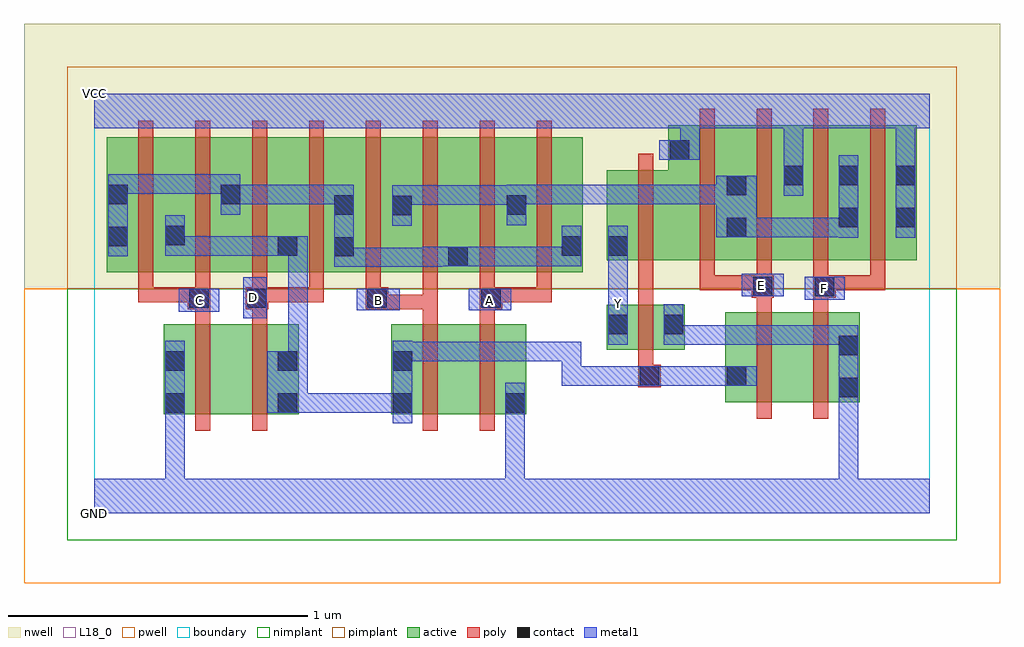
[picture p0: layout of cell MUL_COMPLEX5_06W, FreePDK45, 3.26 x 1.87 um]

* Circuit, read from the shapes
.subckt MUL_COMPLEX5_06W A B C D E F GND VCC Y
M1 n1 C GND VSUBS nfet w=0.3u l=0.05u
M2 n2 D n1 VSUBS nfet w=0.3u l=0.05u
M3 n3 B n2 VSUBS nfet w=0.3u l=0.05u
M4 GND A n3 VSUBS nfet w=0.3u l=0.05u
M5 GND n2 Y VSUBS nfet w=0.15u l=0.05u
M6 n4 E n2 VSUBS nfet w=0.3u l=0.05u
M7 GND F n4 VSUBS nfet w=0.3u l=0.05u
M8 n2 C n5 n6 pfet w=0.45u l=0.05u m=2
M9 n2 D n5 n6 pfet w=0.45u l=0.05u m=2
M10 n7 B n5 n6 pfet w=0.45u l=0.05u m=2
M11 n7 A n5 n6 pfet w=0.45u l=0.05u m=2
M12 VCC n2 Y n6 pfet w=0.3u l=0.05u
M13 n7 E VCC n6 pfet w=0.45u l=0.05u m=2
M14 n7 F VCC n6 pfet w=0.45u l=0.05u m=2
.ends

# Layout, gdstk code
import gdstk
lib = gdstk.Library(unit=1e-6, precision=1e-09)
def R(c, l, rs):  # rectangles x0, y0, x1, y1
    for r in rs: c.add(gdstk.rectangle(r[:2], r[2:], *l))
def A(c, l, x, y, w, h, nx, ny, dx, dy):  # array of equal rectangles
    R(c, l, [(x+i*dx, y+j*dy, x+i*dx+w, y+j*dy+h) for i in range(nx) for j in range(ny)])
active = (1, 0)
pwell = (2, 0)
nwell = (3, 0)
nimplant = (4, 0)
pimplant = (5, 0)
poly = (9, 0)
contact = (10, 0)
metal1 = (11, 0)
L18_0 = (18, 0)
boundary = (235, 0)

mul_complex5_06w = lib.new_cell('MUL_COMPLEX5_06W')
R(mul_complex5_06w, active, [(0.232,0.33,0.457,0.63), (0.232,0.33,0.307,0.63), (0.457,0.33,0.682,0.63), (0.607,0.33,0.682,0.63), (0.992,0.33,1.217,0.63), (0.992,0.33,1.067,0.63), (1.217,0.33,1.442,0.63), (1.367,0.33,1.442,0.547), (2.107,0.37,2.332,0.67), (2.332,0.37,2.557,0.67), (2.107,0.382,2.182,0.67), (2.482,0.382,2.557,0.67), (1.712,0.545,1.787,0.695), (1.712,0.545,1.972,0.695), (1.897,0.545,1.972,0.695), (0.042,0.805,0.307,1.255), (0.042,0.805,0.117,1.2), (0.232,0.805,0.492,1.255), (0.232,0.805,0.307,1.07), (0.417,0.805,0.682,1.255), (0.417,0.805,0.492,1.2), (0.607,0.805,0.872,1.255), (0.607,0.805,0.682,1.07), (0.797,0.805,0.872,1.2), (0.797,0.805,1.065,1.255), (0.99,0.805,1.065,1.2), (0.99,0.805,1.252,1.255), (1.177,0.805,1.252,1.07), (1.177,0.805,1.447,1.255), (1.372,0.805,1.632,1.255), (1.372,0.805,1.447,1.2), (1.557,0.805,1.632,1.07), (1.712,0.845,1.992,1.145), (1.917,0.845,2.182,1.295), (2.107,0.845,2.372,1.295), (2.107,0.845,2.182,1.2), (2.297,0.845,2.372,1.295), (2.297,0.845,2.557,1.295), (2.482,0.845,2.747,1.295), (2.482,0.845,2.557,1.2), (2.672,0.845,2.747,1.295), (1.712,0.855,1.787,1.07), (1.917,0.96,1.992,1.25)])
R(mul_complex5_06w, pwell, [(-0.235,-0.235,3.025,0.75)])
R(mul_complex5_06w, nwell, [(-0.235,0.75,3.025,1.635)])
R(mul_complex5_06w, nimplant, [(-0.09,-0.09,2.88,0.75)])
R(mul_complex5_06w, pimplant, [(-0.09,0.75,2.88,1.49)])
A(mul_complex5_06w, poly, 0.147, 0.705, 0.05, 0.095, 5, 1, 0.19, 0)
A(mul_complex5_06w, poly, 2.022, 0.745, 0.05, 0.095, 4, 1, 0.19, 0)
A(mul_complex5_06w, poly, 0.147, 0.75, 0.05, 0.56, 8, 1, 0.19, 0)
A(mul_complex5_06w, poly, 2.022, 0.79, 0.05, 0.56, 4, 1, 0.19, 0)
R(mul_complex5_06w, poly, [(0.337,0.275,0.387,0.685), (0.527,0.275,0.577,0.685), (1.097,0.275,1.147,0.685), (1.287,0.275,1.337,0.685), (2.212,0.315,2.262,0.725), (2.402,0.315,2.452,0.725), (1.817,0.42,1.892,0.495), (1.817,0.445,1.867,0.54), (1.817,0.49,1.867,0.75), (0.337,0.635,0.387,0.73), (0.527,0.635,0.577,0.73), (1.097,0.635,1.147,0.73), (1.287,0.635,1.337,0.73), (2.212,0.675,2.262,0.77), (2.402,0.675,2.452,0.77), (0.312,0.68,0.387,0.755), (0.505,0.68,0.58,0.755), (0.907,0.68,0.982,0.755), (0.932,0.68,1.147,0.73), (1.097,0.68,1.147,0.73), (1.097,0.68,1.147,0.73), (1.097,0.68,1.147,0.73), (1.097,0.68,1.147,0.8), (1.287,0.68,1.362,0.755), (1.817,0.7,1.867,0.795), (0.147,0.705,0.362,0.755), (0.147,0.705,0.197,0.755), (0.312,0.705,0.362,0.755), (0.312,0.705,0.362,0.755), (0.53,0.705,0.58,0.755), (0.53,0.705,0.58,0.755), (0.53,0.705,0.767,0.755), (0.717,0.705,0.767,0.755), (1.287,0.705,1.337,0.8), (1.312,0.705,1.527,0.755), (1.477,0.705,1.527,0.8), (1.477,0.705,1.527,0.755), (1.477,0.705,1.527,0.755), (1.477,0.705,1.527,0.755), (2.195,0.72,2.27,0.795), (2.402,0.72,2.477,0.795), (1.817,0.745,1.867,0.84), (1.817,0.745,1.867,0.795), (2.022,0.745,2.072,0.795), (2.022,0.745,2.245,0.795), (2.195,0.745,2.245,0.795), (2.195,0.745,2.245,0.795), (2.427,0.745,2.642,0.795), (2.427,0.745,2.477,0.795), (2.427,0.745,2.477,0.795), (2.592,0.745,2.642,0.795), (1.817,0.79,1.867,1.2)])
R(mul_complex5_06w, contact, [(0.237,0.335,0.302,0.4), (0.612,0.335,0.677,0.4), (0.997,0.335,1.062,0.4), (1.372,0.335,1.437,0.4), (2.487,0.387,2.552,0.452), (1.822,0.425,1.887,0.49), (2.112,0.425,2.177,0.49), (0.237,0.475,0.302,0.54), (0.612,0.475,0.677,0.54), (0.997,0.475,1.062,0.54), (2.487,0.527,2.552,0.592), (1.717,0.597,1.782,0.662), (1.902,0.597,1.967,0.662), (0.317,0.685,0.382,0.75), (0.51,0.685,0.575,0.75), (0.912,0.685,0.977,0.75), (1.292,0.685,1.357,0.75), (2.2,0.725,2.265,0.79), (2.407,0.725,2.472,0.79), (1.182,0.825,1.247,0.89), (0.802,0.857,0.867,0.922), (0.612,0.86,0.677,0.925), (1.562,0.86,1.627,0.925), (1.717,0.86,1.782,0.925), (0.047,0.892,0.112,0.957), (0.237,0.895,0.302,0.96), (2.112,0.922,2.177,0.987), (2.487,0.955,2.552,1.02), (2.677,0.955,2.742,1.02), (0.995,0.995,1.06,1.06), (0.802,0.997,0.867,1.062), (1.377,0.997,1.442,1.062), (0.047,1.032,0.112,1.097), (0.422,1.032,0.487,1.097), (2.112,1.062,2.177,1.127), (2.302,1.095,2.367,1.16), (2.487,1.095,2.552,1.16), (2.677,1.095,2.742,1.16), (1.922,1.18,1.987,1.245)])
R(mul_complex5_06w, metal1, [(0,0,2.79,0.115), (0.237,0.05,0.302,0.115), (0.237,0.05,0.302,0.115), (0.237,0.05,0.302,0.115), (0.237,0.05,0.302,0.115), (0.237,0.05,0.302,0.365), (1.372,0.05,1.437,0.365), (2.487,0.05,2.552,0.115), (2.487,0.05,2.552,0.115), (2.487,0.05,2.552,0.417), (0.237,0.3,0.302,0.575), (0.997,0.3,1.062,0.575), (1.372,0.3,1.437,0.365), (1.372,0.3,1.437,0.365), (1.372,0.3,1.437,0.365), (1.372,0.3,1.437,0.365), (1.372,0.3,1.437,0.435), (0.577,0.335,0.712,0.54), (0.647,0.335,0.712,0.4), (0.647,0.335,0.712,0.4), (0.647,0.335,0.867,0.4), (0.802,0.335,0.867,0.4), (0.802,0.335,0.867,0.4), (0.802,0.335,0.867,0.4), (0.802,0.335,1.062,0.4), (2.487,0.352,2.552,0.627), (2.487,0.352,2.552,0.417), (2.487,0.352,2.552,0.417), (1.562,0.425,1.627,0.49), (1.562,0.425,1.627,0.49), (1.562,0.425,1.627,0.49), (1.562,0.425,1.627,0.49), (1.562,0.425,1.627,0.49), (1.562,0.425,1.852,0.49), (1.562,0.425,1.627,0.572), (1.787,0.425,1.922,0.49), (1.857,0.425,1.922,0.49), (1.857,0.425,1.922,0.49), (1.857,0.425,2.06,0.49), (1.995,0.425,2.06,0.49), (1.995,0.425,2.142,0.49), (2.077,0.425,2.212,0.49), (0.647,0.475,0.712,0.925), (0.997,0.507,1.062,0.572), (0.997,0.507,1.062,0.572), (0.997,0.507,1.3,0.572), (1.235,0.507,1.3,0.572), (1.235,0.507,1.3,0.572), (1.235,0.507,1.3,0.572), (1.235,0.507,1.49,0.572), (1.425,0.507,1.627,0.572), (1.425,0.507,1.49,0.572), (1.425,0.507,1.49,0.572), (1.425,0.507,1.49,0.572), (1.562,0.507,1.627,0.572), (1.717,0.562,1.782,0.697), (1.902,0.562,1.967,0.697), (1.902,0.562,2.075,0.627), (2.01,0.562,2.075,0.627), (2.01,0.562,2.105,0.627), (2.04,0.562,2.105,0.627), (2.04,0.562,2.212,0.627), (2.147,0.562,2.212,0.627), (2.147,0.562,2.35,0.627), (2.285,0.562,2.35,0.627), (2.285,0.562,2.552,0.627), (2.487,0.562,2.552,0.627), (2.487,0.562,2.552,0.627), (2.487,0.562,2.552,0.627), (2.487,0.562,2.552,0.627), (2.487,0.562,2.552,0.627), (2.487,0.562,2.552,0.627), (1.717,0.632,1.782,0.697), (1.717,0.632,1.782,0.767), (0.497,0.65,0.575,0.787), (0.282,0.672,0.417,0.75), (0.877,0.677,1.02,0.75), (1.25,0.677,1.392,0.75), (1.717,0.702,1.782,0.89), (2.372,0.712,2.507,0.79), (2.162,0.725,2.302,0.8), (0.802,0.822,0.867,1.097), (0.802,0.822,0.867,0.887), (0.802,0.822,0.867,0.887), (0.802,0.822,0.867,0.887), (0.802,0.822,0.867,0.887), (0.802,0.822,1.075,0.887), (1.01,0.822,1.075,0.887), (1.01,0.822,1.162,0.887), (1.097,0.822,1.162,0.89), (1.097,0.825,1.212,0.89), (1.147,0.825,1.282,0.89), (1.217,0.825,1.3,0.89), (1.235,0.825,1.437,0.89), (1.235,0.825,1.3,0.89), (1.372,0.825,1.437,0.89), (1.372,0.825,1.437,0.89), (1.372,0.825,1.437,0.89), (1.372,0.825,1.627,0.89), (1.562,0.825,1.627,0.96), (1.717,0.825,1.782,0.96), (0.047,0.857,0.112,1.132), (0.237,0.86,0.302,0.925), (0.237,0.86,0.302,0.925), (0.237,0.86,0.302,0.995), (0.237,0.86,0.505,0.925), (0.44,0.86,0.642,0.925), (0.44,0.86,0.505,0.925), (0.44,0.86,0.505,0.925), (0.44,0.86,0.505,0.925), (0.577,0.86,0.712,0.925), (0.647,0.86,0.712,0.925), (0.647,0.86,0.712,0.925), (2.487,0.92,2.552,1.195), (2.677,0.92,2.742,1.195), (2.077,0.922,2.212,1.127), (2.147,0.922,2.212,0.987), (2.147,0.922,2.212,0.987), (2.147,0.922,2.415,0.987), (2.35,0.922,2.552,0.987), (2.35,0.922,2.415,0.987), (2.35,0.922,2.415,0.987), (2.35,0.922,2.415,0.987), (0.995,0.96,1.06,1.095), (1.377,0.962,1.442,1.097), (0.422,0.997,0.487,1.132), (0.995,1.03,1.06,1.095), (0.995,1.03,1.06,1.095), (0.995,1.03,1.3,1.095), (1.235,1.03,1.3,1.095), (1.235,1.03,1.3,1.095), (1.235,1.03,1.3,1.095), (1.235,1.03,1.442,1.095), (0.422,1.032,0.487,1.097), (0.422,1.032,0.487,1.097), (0.422,1.032,0.73,1.097), (0.665,1.032,0.867,1.097), (0.665,1.032,0.73,1.097), (0.665,1.032,0.73,1.097), (0.665,1.032,0.73,1.097), (1.377,1.032,1.442,1.097), (1.377,1.032,1.442,1.097), (1.377,1.032,1.627,1.097), (1.562,1.032,1.627,1.097), (1.562,1.032,1.765,1.097), (1.7,1.032,1.765,1.097), (1.7,1.032,1.765,1.097), (1.7,1.032,1.765,1.097), (1.7,1.032,1.967,1.097), (1.902,1.032,1.967,1.097), (1.902,1.032,1.967,1.097), (1.902,1.032,1.967,1.097), (1.902,1.032,2.075,1.097), (2.01,1.032,2.075,1.097), (2.01,1.032,2.142,1.097), (2.302,1.06,2.367,1.195), (0.047,1.067,0.112,1.132), (0.047,1.067,0.112,1.132), (0.047,1.067,0.35,1.132), (0.285,1.067,0.487,1.132), (0.285,1.067,0.35,1.132), (0.285,1.067,0.35,1.132), (0.285,1.067,0.35,1.132), (2.302,1.13,2.367,1.35), (2.677,1.13,2.742,1.35), (1.887,1.18,2.022,1.245), (1.957,1.18,2.022,1.35), (0,1.285,2.79,1.4)])
R(mul_complex5_06w, L18_0, [(0,0,2.79,0.115), (0.237,0.05,0.302,0.115), (0.237,0.05,0.302,0.115), (0.237,0.05,0.302,0.115), (0.237,0.05,0.302,0.115), (0.237,0.05,0.302,0.365), (1.372,0.05,1.437,0.365), (2.487,0.05,2.552,0.115), (2.487,0.05,2.552,0.115), (2.487,0.05,2.552,0.417), (0.237,0.3,0.302,0.575), (1.372,0.3,1.437,0.365), (1.372,0.3,1.437,0.365), (1.372,0.3,1.437,0.365), (1.372,0.3,1.437,0.365), (1.372,0.3,1.437,0.435), (2.487,0.352,2.552,0.417), (2.487,0.352,2.552,0.417), (2.487,0.352,2.552,0.627), (1.717,0.562,1.782,0.697), (1.902,0.562,1.967,0.697), (1.902,0.562,2.075,0.627), (2.01,0.562,2.075,0.627), (2.01,0.562,2.105,0.627), (2.04,0.562,2.105,0.627), (2.04,0.562,2.212,0.627), (2.147,0.562,2.212,0.627), (2.147,0.562,2.35,0.627), (2.285,0.562,2.35,0.627), (2.285,0.562,2.552,0.627), (2.487,0.562,2.552,0.627), (2.487,0.562,2.552,0.627), (2.487,0.562,2.552,0.627), (2.487,0.562,2.552,0.627), (2.487,0.562,2.552,0.627), (2.487,0.562,2.552,0.627), (1.717,0.632,1.782,0.697), (1.717,0.632,1.782,0.767), (0.497,0.65,0.575,0.787), (1.717,0.667,1.782,0.732), (0.282,0.672,0.417,0.75), (0.317,0.677,0.382,0.742), (0.877,0.677,1.02,0.75), (0.917,0.677,0.982,0.742), (1.25,0.677,1.392,0.75), (1.287,0.677,1.352,0.742), (0.497,0.687,0.562,0.752), (1.717,0.702,1.782,0.89), (2.372,0.712,2.507,0.79), (2.407,0.717,2.472,0.782), (2.162,0.725,2.302,0.8), (2.197,0.727,2.262,0.792), (1.717,0.825,1.782,0.96), (2.677,0.92,2.742,1.195), (2.302,1.06,2.367,1.195), (2.302,1.13,2.367,1.35), (2.677,1.13,2.742,1.35), (1.887,1.18,2.022,1.245), (1.957,1.18,2.022,1.35), (0,1.285,2.79,1.4)])
R(mul_complex5_06w, boundary, [(0,0,2.79,1.4)])
mul_complex5_06w.add(gdstk.Label('A', (1.32,0.71), layer=11, texttype=0))
mul_complex5_06w.add(gdstk.Label('B', (0.95,0.71), layer=11, texttype=0))
mul_complex5_06w.add(gdstk.Label('C', (0.35,0.71), layer=11, texttype=0))
mul_complex5_06w.add(gdstk.Label('D', (0.53,0.72), layer=11, texttype=0))
mul_complex5_06w.add(gdstk.Label('E', (2.23,0.76), layer=11, texttype=0))
mul_complex5_06w.add(gdstk.Label('F', (2.44,0.75), layer=11, texttype=0))
mul_complex5_06w.add(gdstk.Label('Y', (1.75,0.7), layer=11, texttype=0))
mul_complex5_06w.add(gdstk.Label('VCC', (0,1.4), layer=11, texttype=0))
mul_complex5_06w.add(gdstk.Label('GND', (0,0), layer=11, texttype=0))

lib.write_gds('MUL_COMPLEX5_06W.gds')
